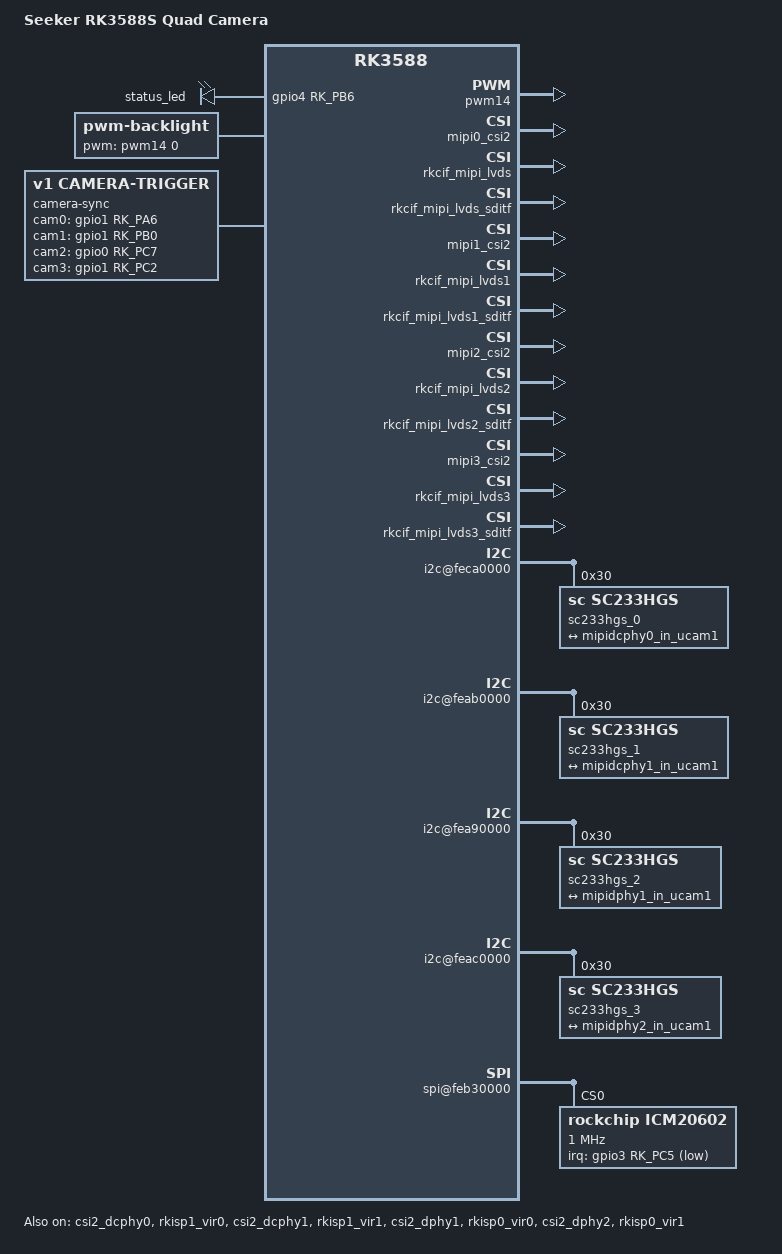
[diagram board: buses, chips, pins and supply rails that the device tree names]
/dts-v1/;

#include <dt-bindings/clock/rk3588-cru.h>
#include "rk3588s-orangepi-cm5.dts"

/ {
	model = "Seeker RK3588S Quad Camera";
	compatible = "seeker,rk3588s-quad-camera", "rockchip,rk3588s-orangepi-cm5", "rockchip,rk3588";

	/delete-node/ gpio-keys;
	/delete-node/ gpio-leds;
	/delete-node/ vcc3v3-sys;

	leds: gpio-leds {
		compatible = "gpio-leds";
		pinctrl-names = "default";
		pinctrl-0 = <&led_gpio>;
		status = "okay";

		status_led: led-0 {
			label = "status_led";
			gpios = <&gpio4 RK_PB6 GPIO_ACTIVE_HIGH>;
			linux,default-trigger = "heartbeat";
			linux,default-trigger-delay-ms = <0>;
		};
	};

	backlight: backlight {
		compatible = "pwm-backlight";
		pwms = <&pwm14 0 25000 0>;
		default-brightness-level = <200>;
		brightness-levels = <
			  0  20  20  21  21  22  22  23  23  24  24  25  25  26  26  27
			 27  28  28  29  29  30  30  31  31  32  32  33  33  34  34  35
			 35  36  36  37  37  38  38  39  40  41  42  43  44  45  46  47
			 48  49  50  51  52  53  54  55  56  57  58  59  60  61  62  63
			 64  65  66  67  68  69  70  71  72  73  74  75  76  77  78  79
			 80  81  82  83  84  85  86  87  88  89  90  91  92  93  94  95
			 96  97  98  99 100 101 102 103 104 105 106 107 108 109 110 111
			112 113 114 115 116 117 118 119 120 121 122 123 124 125 126 127
			128 129 130 131 132 133 134 135 136 137 138 139 140 141 142 143
			144 145 146 147 148 149 150 151 152 153 154 155 156 157 158 159
			160 161 162 163 164 165 166 167 168 169 170 171 172 173 174 175
			176 177 178 179 180 181 182 183 184 185 186 187 188 189 190 191
			192 193 194 195 196 197 198 199 200 201 202 203 204 205 206 207
			208 209 210 211 212 213 214 215 216 217 218 219 220 221 222 223
			224 225 226 227 228 229 230 231 232 233 234 235 236 237 238 239
			240 241 242 243 244 245 246 247 248 249 250 251 252 253 254 255
		>;
	};

	camera-sync {
		compatible = "v1,camera-trigger";
		status = "okay";
		cam_num = <4>;
		cam0-gpios = <&gpio1 RK_PA6 GPIO_ACTIVE_HIGH>;
		cam1-gpios = <&gpio1 RK_PB0 GPIO_ACTIVE_HIGH>;
		cam2-gpios = <&gpio0 RK_PC7 GPIO_ACTIVE_HIGH>;
		cam3-gpios = <&gpio1 RK_PC2 GPIO_ACTIVE_HIGH>;
	};
};

&vcc5v0_host {
	gpio = <&gpio4 RK_PA2 GPIO_ACTIVE_HIGH>;
	pinctrl-0 = <&vcc5v0_host_en>;
};

&vcc5v0_host_en {
	rockchip,pins = <4 RK_PA2 RK_FUNC_GPIO &pcfg_pull_none>;
};

/*
 * GMAC1 MDIO/MDC uses GPIO3_C2/C3, which conflicts with the Seeker camera0
 * I2C8 M4 route. Keep the SoC GMAC disabled so sc233hgs-0 can claim i2c8m4.
 */
&gmac1 {
	status = "disabled";
};

&pinctrl {
	leds {
		led_gpio: led-gpio {
			rockchip,pins = <4 RK_PB6 RK_FUNC_GPIO &pcfg_pull_none>;
		};
	};
};

&pwm14 {
	status = "okay";
	pinctrl-names = "active";
	pinctrl-0 = <&pwm14m1_pins>;
};

/*
 * PWM15 M3 is GPIO1_D7, the same pin as MIPI camera4 MCLK. Keep it disabled
 * on this quad-camera board so the fourth camera can claim mipim0_camera4_clk.
 */
&pwm15 {
	status = "disabled";
};

&fan {
	status = "disabled";
};

/* Camera path 0: i2c8 -> dcphy0 -> mipi0 -> cif0 -> rkisp1_vir0 */
&csi2_dcphy0 {
	status = "okay";
};

&mipidcphy0_in_ucam1 {
	remote-endpoint = <&sc233hgs_out0>;
	data-lanes = <1 2>;
};

&mipi0_csi2 {
	status = "okay";
};

&csidcphy0_out {
	remote-endpoint = <&mipi0_csi2_input>;
};

&mipi0_csi2_input {
	remote-endpoint = <&csidcphy0_out>;
};

&mipi0_csi2_output {
	remote-endpoint = <&cif_mipi_in0>;
};

&rkcif_mipi_lvds {
	status = "okay";
};

&cif_mipi_in0 {
	remote-endpoint = <&mipi0_csi2_output>;
};

&rkcif_mipi_lvds_sditf {
	status = "okay";
};

&mipi_lvds_sditf {
	remote-endpoint = <&isp1_in1>;
};

&rkisp1_vir0 {
	status = "okay";
};

&isp1_in1 {
	remote-endpoint = <&mipi_lvds_sditf>;
};

/* Camera path 1: i2c3 -> dcphy1 -> mipi1 -> cif1 -> rkisp1_vir1 */
&csi2_dcphy1 {
	status = "okay";
};

&mipidcphy1_in_ucam1 {
	remote-endpoint = <&sc233hgs_out1>;
	data-lanes = <1 2>;
};

&mipi1_csi2 {
	status = "okay";
};

&csidcphy1_out {
	remote-endpoint = <&mipi1_csi2_input>;
};

&mipi1_csi2_input {
	remote-endpoint = <&csidcphy1_out>;
};

&mipi1_csi2_output {
	remote-endpoint = <&cif_mipi_in1>;
};

&rkcif_mipi_lvds1 {
	status = "okay";
};

&cif_mipi_in1 {
	remote-endpoint = <&mipi1_csi2_output>;
};

&rkcif_mipi_lvds1_sditf {
	status = "okay";
};

&mipi1_lvds_sditf {
	remote-endpoint = <&isp1_in0>;
};

&rkisp1_vir1 {
	status = "okay";
};

&isp1_in0 {
	remote-endpoint = <&mipi1_lvds_sditf>;
};

/* Camera path 2: i2c1 -> dphy1 -> mipi2 -> cif2 -> rkisp0_vir0 */
&csi2_dphy1 {
	status = "okay";
};

&mipidphy1_in_ucam1 {
	remote-endpoint = <&sc233hgs_out2>;
	data-lanes = <1 2>;
};

&mipi2_csi2 {
	status = "okay";
};

&csidphy0_out {
	remote-endpoint = <&mipi2_csi2_input>;
};

&mipi2_csi2_input {
	remote-endpoint = <&csidphy0_out>;
};

&mipi2_csi2_output {
	remote-endpoint = <&cif_mipi_in2>;
};

&rkcif_mipi_lvds2 {
	status = "okay";
};

&cif_mipi_in2 {
	remote-endpoint = <&mipi2_csi2_output>;
};

&rkcif_mipi_lvds2_sditf {
	status = "okay";
};

&mipi2_lvds_sditf {
	remote-endpoint = <&isp0_vir0>;
};

&rkisp0_vir0 {
	status = "okay";
};

&isp0_vir0 {
	remote-endpoint = <&mipi2_lvds_sditf>;
};

/* Camera path 3: i2c4 -> dphy2 -> mipi3 -> cif3 -> rkisp0_vir1 */
&csi2_dphy2 {
	status = "okay";
};

&mipidphy2_in_ucam1 {
	remote-endpoint = <&sc233hgs_out3>;
	data-lanes = <1 2>;
};

&mipi3_csi2 {
	status = "okay";
};

&csidphy2_out {
	remote-endpoint = <&mipi3_csi2_input>;
};

&mipi3_csi2_input {
	remote-endpoint = <&csidphy2_out>;
};

&mipi3_csi2_output {
	remote-endpoint = <&cif_mipi_in3>;
};

&rkcif_mipi_lvds3 {
	status = "okay";
};

&cif_mipi_in3 {
	remote-endpoint = <&mipi3_csi2_output>;
};

&rkcif_mipi_lvds3_sditf {
	status = "okay";
};

&mipi3_lvds_sditf {
	remote-endpoint = <&isp0_vir1>;
};

&rkisp0_vir1 {
	status = "okay";
};

&isp0_vir1 {
	remote-endpoint = <&mipi3_lvds_sditf>;
};

/*
 * The CM5 camera templates keep disabled RPi camera endpoints wired to the
 * same CSI input slots we repurpose here. Drop the unused OV5647 endpoints
 * outright so Rockchip's async graph parsers only see the SC233HGS endpoint on
 * each DPHY input.
 */
/delete-node/ &mipidcphy0_in_ucam0;
/delete-node/ &mipidcphy1_in_ucam0;
/delete-node/ &mipidphy1_in_ucam0;
/delete-node/ &mipidphy2_in_ucam0;

&ov5647_1 {
	/delete-node/ port;
};

&ov5647_2 {
	/delete-node/ port;
};

&ov5647_3 {
	/delete-node/ port;
};

&ov5647_4 {
	/delete-node/ port;
};

&imx219_1 {
	/delete-node/ port;
};

&imx219_2 {
	/delete-node/ port;
};

&imx219_3 {
	/delete-node/ port;
};

&imx219_4 {
	/delete-node/ port;
};

&{/i2c@feca0000} {
	status = "okay";
	pinctrl-names = "default";
	pinctrl-0 = <&i2c8m4_xfer>;

	sc233hgs_0: sc233hgs-0@30 {
		compatible = "sc,sc233hgs";
		reg = <0x30>;
		status = "okay";
		power-domains = <&power RK3588_PD_VI>;
		pinctrl-names = "default";
		pinctrl-0 = <&mipim0_camera3_clk>;
		clocks = <&cru CLK_MIPI_CAMARAOUT_M3>;
		clock-names = "xvclk";
		rockchip,camera-module-name = "default";
		rockchip,camera-module-index = <0>;
		rockchip,camera-module-facing = "back";
		rockchip,camera-module-lens-name = "default";
		revert = <0>;

		port {
			sc233hgs_out0: endpoint {
				data-lanes = <1 2>;
				remote-endpoint = <&mipidcphy0_in_ucam1>;
			};
		};
	};
};

&{/i2c@feab0000} {
	status = "okay";
	pinctrl-names = "default";
	pinctrl-0 = <&i2c3m0_xfer>;

	sc233hgs_1: sc233hgs-1@30 {
		compatible = "sc,sc233hgs";
		reg = <0x30>;
		status = "okay";
		power-domains = <&power RK3588_PD_VI>;
		pinctrl-names = "default";
		pinctrl-0 = <&mipim0_camera4_clk>;
		clocks = <&cru CLK_MIPI_CAMARAOUT_M4>;
		clock-names = "xvclk";
		rockchip,camera-module-name = "default";
		rockchip,camera-module-index = <4>;
		rockchip,camera-module-facing = "back";
		rockchip,camera-module-lens-name = "default";
		revert = <0>;

		port {
			sc233hgs_out1: endpoint {
				data-lanes = <1 2>;
				remote-endpoint = <&mipidcphy1_in_ucam1>;
			};
		};
	};
};

&{/i2c@fea90000} {
	status = "okay";
	pinctrl-names = "default";
	pinctrl-0 = <&i2c1m4_xfer>;

	sc233hgs_2: sc233hgs-2@30 {
		compatible = "sc,sc233hgs";
		reg = <0x30>;
		status = "okay";
		power-domains = <&power RK3588_PD_VI>;
		pinctrl-names = "default";
		pinctrl-0 = <&mipim0_camera1_clk>;
		clocks = <&cru CLK_MIPI_CAMARAOUT_M1>;
		clock-names = "xvclk";
		rockchip,camera-module-name = "default";
		rockchip,camera-module-index = <2>;
		rockchip,camera-module-facing = "back";
		rockchip,camera-module-lens-name = "default";
		revert = <0>;

		port {
			sc233hgs_out2: endpoint {
				data-lanes = <1 2>;
				remote-endpoint = <&mipidphy1_in_ucam1>;
			};
		};
	};
};

&{/i2c@feac0000} {
	status = "okay";
	pinctrl-names = "default";
	pinctrl-0 = <&i2c4m3_xfer>;

	sc233hgs_3: sc233hgs-3@30 {
		compatible = "sc,sc233hgs";
		reg = <0x30>;
		status = "okay";
		power-domains = <&power RK3588_PD_VI>;
		pinctrl-names = "default";
		pinctrl-0 = <&mipim0_camera2_clk>;
		clocks = <&cru CLK_MIPI_CAMARAOUT_M2>;
		clock-names = "xvclk";
		rockchip,camera-module-name = "default";
		rockchip,camera-module-index = <3>;
		rockchip,camera-module-facing = "back";
		rockchip,camera-module-lens-name = "default";
		revert = <0>;

		port {
			sc233hgs_out3: endpoint {
				data-lanes = <1 2>;
				remote-endpoint = <&mipidphy2_in_ucam1>;
			};
		};
	};
};

&{/spi@feb30000} {
	status = "okay";
	pinctrl-names = "default";
	pinctrl-0 = <&spi3m3_pins &spi3m3_cs0>;
	num-cs = <1>;

	icm20602@0 {
		compatible = "rockchip,icm20602";
		reg = <0>;
		status = "okay";
		spi-max-frequency = <1000000>;
		irq-gpio = <&gpio3 RK_PC5 GPIO_ACTIVE_LOW>;
	};
};
